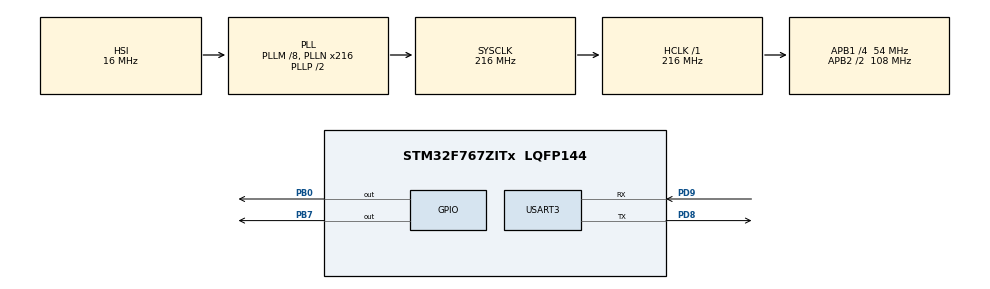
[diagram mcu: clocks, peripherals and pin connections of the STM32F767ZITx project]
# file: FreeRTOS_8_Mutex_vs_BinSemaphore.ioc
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FREERTOS.INCLUDE_vTaskDelayUntil=1
FREERTOS.Tasks01=normalTask,0,128,start_normalTask,Default,NULL,Dynamic,NULL,NULL
FREERTOS.configUSE_COUNTING_SEMAPHORES=0
FREERTOS.configUSE_NEWLIB_REENTRANT=1
Mcu.Family=STM32F7
Mcu.Name=STM32F767ZITx
Mcu.Package=LQFP144
NVIC.PriorityGroup=NVIC_PRIORITYGROUP_4
NVIC.TIM6_DAC_IRQn=true\:15\:0\:false\:false\:true\:false\:false\:true\:true
NVIC.TimeBase=TIM6_DAC_IRQn
NVIC.TimeBaseIP=TIM6
NVIC.USART3_IRQn=true\:5\:0\:false\:false\:true\:true\:true\:true\:true
PA13.Mode=Serial_Wire
PA13.Signal=SYS_JTMS-SWDIO
PA14.Mode=Serial_Wire
PA14.Signal=SYS_JTCK-SWCLK
PB0.Signal=GPIO_Output
PB7.Signal=GPIO_Output
PD8.Mode=Asynchronous
PD8.Signal=USART3_TX
PD9.Mode=Asynchronous
PD9.Signal=USART3_RX
ProjectManager.HeapSize=0x200
ProjectManager.StackSize=0x400
ProjectManager.TargetToolchain=CMake
RCC.AHBFreq_Value=216000000
RCC.APB1CLKDivider=RCC_HCLK_DIV4
RCC.APB1Freq_Value=54000000
RCC.APB1TimFreq_Value=108000000
RCC.APB2CLKDivider=RCC_HCLK_DIV2
RCC.APB2Freq_Value=108000000
RCC.APB2TimFreq_Value=216000000
RCC.CortexFreq_Value=216000000
RCC.HCLKFreq_Value=216000000
RCC.HSE_VALUE=8000000
RCC.HSI_VALUE=16000000
RCC.LSE_VALUE=32768
RCC.PLLM=8
RCC.PLLN=216
RCC.SYSCLKFreq_VALUE=216000000
RCC.SYSCLKSource=RCC_SYSCLKSOURCE_PLLCLK
RCC.USBFreq_Value=216000000
RCC.VCOOutputFreq_Value=432000000
USART3.VirtualMode-Asynchronous=VM_ASYNC
VP_FREERTOS_VS_CMSIS_V1.Mode=CMSIS_V1
VP_SYS_VS_tim6.Mode=TIM6
board=custom

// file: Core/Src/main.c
/* USER CODE BEGIN Header */
/**
  ******************************************************************************
  * @file           : main.c
  * @brief          : Main program body
  ******************************************************************************
  * @author			: Jabed-Akhtar (GitHub)
  * @date			: 11.10.2022
  ******************************************************************************
  * Description:
  * 	- a source within this script: https://youtube.com/playlist?list=PLfIJKC1ud8gj1t2y36sabPT4YcKzmN_5D
  * 	- Related doc/file can be found at location '<project-dir>/zz_docs/...'
  *
  * 	- Difference between Mutex and Binary Semaphore
  * 	- Difference between Priority Inversion and Priority Inheritance
  *
  * @attention
  * Very imp note:
  * 	- comment out #include "cmsis_os.h" , as it is not used
  * 	- comment or remote by-default created task related stuffs
  *
  ******************************************************************************
  */
/* USER CODE END Header */
#include "main.h"
//#include "cmsis_os.h"

/* USER CODE BEGIN Includes */

#include "FreeRTOS.h"
#include "task.h"
//#include "timers.h"
#include "queue.h"
#include "semphr.h"
//#include "event_groups.h"

#include <stdio.h>
#include "stdlib.h"
#include <string.h>

/* USER CODE END Includes */

UART_HandleTypeDef huart3;

//osThreadId normalTaskHandle;
/* USER CODE BEGIN PV */

/****** Mutex Handler *****/
SemaphoreHandle_t simpleMutex;
/****** Semaphore Handler *****/
SemaphoreHandle_t binSemaphore;

// defining Task Handlers **********
TaskHandle_t HPT_Task_Handler; // High Priority Task
TaskHandle_t MPT_Task_Handler; // Medium Priority Task
TaskHandle_t LPT_Task_Handler; // Low Priority Task

/* USER CODE END PV */

void SystemClock_Config(void);
static void MX_GPIO_Init(void);
static void MX_USART3_UART_Init(void);
//void start_normalTask(void const * argument);

/* USER CODE BEGIN PFP */

void HPT_Task(void *argument); // High Priority Task Handler function
void MPT_Task(void *argument); // Medium Priority Task Handler function
void LPT_Task(void *argument); // Low Priority Task Handler function
void Send_Uart(char *str); // Function to send data via UART , acquire Mutex and release Mutex

/* USER CODE END PFP */

int main(void)
{

  /* MCU Configuration--------------------------------------------------------*/

  /* Reset of all peripherals, Initializes the Flash interface and the Systick. */
  HAL_Init();

  /* Configure the system clock */
  SystemClock_Config();

  /* Initialize all configured peripherals */
  MX_GPIO_Init();
  MX_USART3_UART_Init();
  /* USER CODE BEGIN 2 */

  // sending data through USART at the beginning of Programm
  char stri[] = "\n---------- Programm started!!! ----------\n\n\r";
  HAL_UART_Transmit(&huart3, (uint8_t*)stri, strlen(stri), HAL_MAX_DELAY); //HAL_MAX_DELAY -> 0xFFFFFFFFU

  /***** creating Mutex ****/
  simpleMutex = xSemaphoreCreateMutex();
  if (simpleMutex != NULL) // if Mutex is created
  {
	  char *str1 = "Mutex Created.\n\r";
	  HAL_UART_Transmit(&huart3, (uint8_t*)str1, strlen(str1), HAL_MAX_DELAY);
  }

  /***** creating Binary Semaphore ****/
  binSemaphore = xSemaphoreCreateBinary();
  if(binSemaphore != NULL)
  {
	  char *str2 = "Bin-Semaphore Created.\n\r";
	  HAL_UART_Transmit(&huart3, (uint8_t*)str2, strlen(str2), HAL_MAX_DELAY);
  }
  // giving binary Semaphore (!needed before taking it)
  xSemaphoreGive(binSemaphore);

  /***** create Tasks *****/
  xTaskCreate(HPT_Task, "HPT", 128, NULL, 3, &HPT_Task_Handler);
  xTaskCreate(MPT_Task, "MPT", 128, NULL, 2, &MPT_Task_Handler);
  xTaskCreate(LPT_Task, "LPT", 128, NULL, 1, &LPT_Task_Handler); // Task for receiving data from Queue

  // start the Schedular
  vTaskStartScheduler();

  /* USER CODE END 2 */

  /* Create the thread(s) */
  /* definition and creation of normalTask */
//  osThreadDef(normalTask, start_normalTask, osPriorityNormal, 0, 128);
//  normalTaskHandle = osThreadCreate(osThread(normalTask), NULL);

  /* Start scheduler */
//  osKernelStart();

  /* We should never get here as control is now taken by the scheduler */

  /* Infinite loop */
  while (1)
  {

  }
}

void SystemClock_Config(void)
{
  RCC_OscInitTypeDef RCC_OscInitStruct = {0};
  RCC_ClkInitTypeDef RCC_ClkInitStruct = {0};

  /** Configure the main internal regulator output voltage
  */
  __HAL_RCC_PWR_CLK_ENABLE();
  __HAL_PWR_VOLTAGESCALING_CONFIG(PWR_REGULATOR_VOLTAGE_SCALE1);

  /** Initializes the RCC Oscillators according to the specified parameters
  * in the RCC_OscInitTypeDef structure.
  */
  RCC_OscInitStruct.OscillatorType = RCC_OSCILLATORTYPE_HSI;
  RCC_OscInitStruct.HSIState = RCC_HSI_ON;
  RCC_OscInitStruct.HSICalibrationValue = RCC_HSICALIBRATION_DEFAULT;
  RCC_OscInitStruct.PLL.PLLState = RCC_PLL_ON;
  RCC_OscInitStruct.PLL.PLLSource = RCC_PLLSOURCE_HSI;
  RCC_OscInitStruct.PLL.PLLM = 8;
  RCC_OscInitStruct.PLL.PLLN = 216;
  RCC_OscInitStruct.PLL.PLLP = RCC_PLLP_DIV2;
  RCC_OscInitStruct.PLL.PLLQ = 2;
  RCC_OscInitStruct.PLL.PLLR = 2;
  if (HAL_RCC_OscConfig(&RCC_OscInitStruct) != HAL_OK)
  {
    Error_Handler();
  }

  /** Activate the Over-Drive mode
  */
  if (HAL_PWREx_EnableOverDrive() != HAL_OK)
  {
    Error_Handler();
  }

  /** Initializes the CPU, AHB and APB buses clocks
  */
  RCC_ClkInitStruct.ClockType = RCC_CLOCKTYPE_HCLK|RCC_CLOCKTYPE_SYSCLK
                              |RCC_CLOCKTYPE_PCLK1|RCC_CLOCKTYPE_PCLK2;
  RCC_ClkInitStruct.SYSCLKSource = RCC_SYSCLKSOURCE_PLLCLK;
  RCC_ClkInitStruct.AHBCLKDivider = RCC_SYSCLK_DIV1;
  RCC_ClkInitStruct.APB1CLKDivider = RCC_HCLK_DIV4;
  RCC_ClkInitStruct.APB2CLKDivider = RCC_HCLK_DIV2;

  if (HAL_RCC_ClockConfig(&RCC_ClkInitStruct, FLASH_LATENCY_7) != HAL_OK)
  {
    Error_Handler();
  }
}

static void MX_USART3_UART_Init(void)
{

  huart3.Instance = USART3;
  huart3.Init.BaudRate = 115200;
  huart3.Init.WordLength = UART_WORDLENGTH_8B;
  huart3.Init.StopBits = UART_STOPBITS_1;
  huart3.Init.Parity = UART_PARITY_NONE;
  huart3.Init.Mode = UART_MODE_TX_RX;
  huart3.Init.HwFlowCtl = UART_HWCONTROL_NONE;
  huart3.Init.OverSampling = UART_OVERSAMPLING_16;
  huart3.Init.OneBitSampling = UART_ONE_BIT_SAMPLE_DISABLE;
  huart3.AdvancedInit.AdvFeatureInit = UART_ADVFEATURE_NO_INIT;
  if (HAL_UART_Init(&huart3) != HAL_OK)
  {
    Error_Handler();
  }

}

static void MX_GPIO_Init(void)
{
  GPIO_InitTypeDef GPIO_InitStruct = {0};

  /* GPIO Ports Clock Enable */
  __HAL_RCC_GPIOB_CLK_ENABLE();
  __HAL_RCC_GPIOD_CLK_ENABLE();
  __HAL_RCC_GPIOA_CLK_ENABLE();

  /*Configure GPIO pin Output Level */
  HAL_GPIO_WritePin(GPIOB, GPIO_PIN_0|GPIO_PIN_7, GPIO_PIN_RESET);

  /*Configure GPIO pins : PB0 PB7 */
  GPIO_InitStruct.Pin = GPIO_PIN_0|GPIO_PIN_7;
  GPIO_InitStruct.Mode = GPIO_MODE_OUTPUT_PP;
  GPIO_InitStruct.Pull = GPIO_NOPULL;
  GPIO_InitStruct.Speed = GPIO_SPEED_FREQ_LOW;
  HAL_GPIO_Init(GPIOB, &GPIO_InitStruct);

}

/* USER CODE BEGIN 4 */

// Medium Priority Task Handler function
/*
 * Medium/Normal Priority Task to send data via UART
 */
void HPT_Task(void *argument)
{
	char *strtosend = "In HPT =============================\n";

	while(1)
	{
//		char *str = "Entered HPT_Task and about to take the Bin-Semaphore.\n\n";
		char *str = "Entered HPT_Task and about to take the Mutex.\n\n";
		HAL_UART_Transmit(&huart3, (uint8_t *)str, strlen(str), HAL_MAX_DELAY);

		Send_Uart(strtosend);

		char *str2 = "Leaving HPT_Task.\n\n";
		HAL_UART_Transmit(&huart3, (uint8_t *)str2, strlen(str2), HAL_MAX_DELAY);

		HAL_GPIO_TogglePin(GPIOB, GPIO_PIN_0); // Toggling LED-0 before Leaving HPT_Task

		vTaskDelay(750);
	}
}

// Medium Priority Task Handler function
/*
 * Medium/Normal Priority Task to send data via UART
 */
void MPT_Task(void *argument)
{
	while(1)
	{
		char *str = "In MPT =============================.\n\n";
		HAL_UART_Transmit(&huart3, (uint8_t *)str, strlen(str), HAL_MAX_DELAY);

		HAL_GPIO_TogglePin(GPIOB, GPIO_PIN_7); // Toggling LED-1 before Leaving MPT_Task

		vTaskDelay(2000);
	}
}

// Low Priority Task Handler function
/*
 * Low Priority Task to send data via UART
 */
void LPT_Task(void *argument)
{
	char *strtosend = "In LPT =============================\n";

	while(1)
	{
//		char *str = "Entered LPT_Task and about to take the Bin-Semaphore.\n\n";
		char *str = "Entered LPT_Task and about to take the Mutex.\n\n";
		HAL_UART_Transmit(&huart3, (uint8_t *)str, strlen(str), HAL_MAX_DELAY);

		Send_Uart(strtosend);

		char *str2 = "Leaving LPT_Task.\n\n";
		HAL_UART_Transmit(&huart3, (uint8_t *)str2, strlen(str2), HAL_MAX_DELAY);

		HAL_GPIO_TogglePin(GPIOB, GPIO_PIN_14); // Toggling LED-2 before Leaving HPT_Task

		vTaskDelay(1000);
	}
}

// Function to send data via UART
void Send_Uart(char *str)
{
	// for Binary-Semaphore
//	xSemaphoreTake(binSemaphore, portMAX_DELAY);
//	HAL_Delay(5000); // Delay of 5 sec for testing
//	HAL_UART_Transmit(&huart3, (uint8_t *)str, strlen(str), HAL_MAX_DELAY);
//	xSemaphoreGive(binSemaphore);

	// For Mutex
	xSemaphoreTake(simpleMutex, portMAX_DELAY);
	HAL_Delay(5000); // Delay of 5 sec for testing
	HAL_UART_Transmit(&huart3, (uint8_t *)str, strlen(str), HAL_MAX_DELAY);
	xSemaphoreGive(simpleMutex);
}

/* USER CODE END 4 */

//void start_normalTask(void const * argument)
//{
//  /* USER CODE BEGIN 5 */
//  /* Infinite loop */
//  for(;;)
//  {
//    osDelay(1);
//  }
//  /* USER CODE END 5 */
//}

void HAL_TIM_PeriodElapsedCallback(TIM_HandleTypeDef *htim)
{
  if (htim->Instance == TIM6) {
    HAL_IncTick();
  }
}

void Error_Handler(void)
{
  __disable_irq();
  while (1)
  {
  }
}
